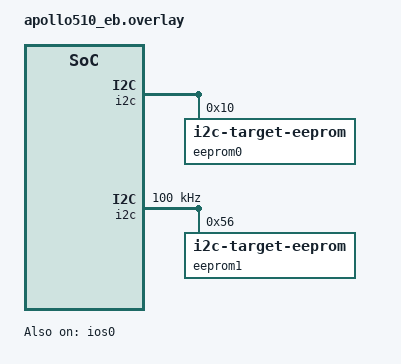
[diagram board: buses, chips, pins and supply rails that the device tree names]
/* SPDX-License-Identifier: Apache-2.0 */
/* Copyright (c) 2025 Ambiq Micro Inc. */

/*
 * Apollo510 EB overlay for tests/drivers/i2c/i2c_target_api
 *
 * - IOS acts as I2C target (SCL=P11, SDA=P52)
 * - IOM5 acts as I2C master (SCL=P47, SDA=P48)
 * - Physically short SCL and SDA pairs with pull-ups.
 */

&ios0 {
	status = "okay";

	i2c {
		compatible = "ambiq,ios-i2c";
		#address-cells = <1>;
		#size-cells = <0>;
		pinctrl-0 = <&ios_i2c0_default>;
		pinctrl-1 = <&ios_i2c0_sleep>;
		pinctrl-names = "default", "sleep";
		fifo-threshold = <16>;
		status = "okay";

		eeprom0: eeprom@10 {
			compatible = "zephyr,i2c-target-eeprom";
			reg = <0x10>;
			size = <256>;
			address-width = <8>;
			status = "okay";
		};
	};

	/* Ensure SPI device on IOS is disabled when using I2C target */
	spi {
		status = "disabled";
	};
};

/* Use IOM5 as the peer I2C controller to access the target device */
&iom5 {
	i2c {
		compatible = "ambiq,i2c";
		#address-cells = <1>;
		#size-cells = <0>;
		pinctrl-0 = <&i2c5_default>;
		pinctrl-1 = <&i2c5_sleep>;
		pinctrl-names = "default", "sleep";
		clock-frequency = <I2C_BITRATE_STANDARD>;
		status = "okay";

		/* Second target for the test suite expectations */
		eeprom1: eeprom@56 {
			compatible = "zephyr,i2c-target-eeprom";
			reg = <0x56>;
			size = <256>;
			address-width = <8>;
			status = "okay";
		};
	};
};
